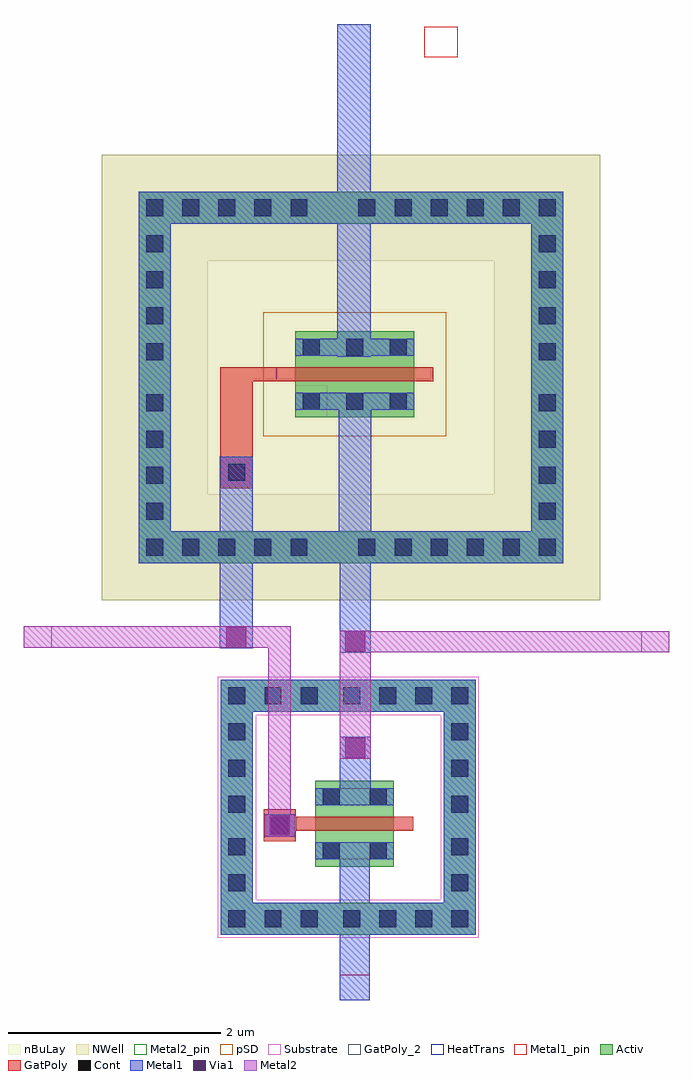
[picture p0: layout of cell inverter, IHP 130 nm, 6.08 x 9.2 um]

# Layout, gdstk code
from math import pi, radians
import gdstk
lib = gdstk.Library(unit=1e-6, precision=5e-09)
def R(c, l, rs):  # rectangles x0, y0, x1, y1
    for r in rs: c.add(gdstk.rectangle(r[:2], r[2:], *l))
def A(c, l, x, y, w, h, nx, ny, dx, dy):  # array of equal rectangles
    R(c, l, [(x+i*dx, y+j*dy, x+i*dx+w, y+j*dy+h) for i in range(nx) for j in range(ny)])
def P(c, l, *ps):  # polygons
    for p in ps: c.add(gdstk.Polygon(p, *l))
Activ = (1, 0)
GatPoly = (5, 0)
GatPoly_2 = (5, 2)
Cont = (6, 0)
Metal1 = (8, 0)
Metal1_pin = (8, 2)
Metal2 = (10, 0)
Metal2_pin = (10, 2)
pSD = (14, 0)
Via1 = (19, 0)
NWell = (31, 0)
nBuLay = (32, 0)
Substrate = (40, 0)
HeatTrans = (51, 0)

nmos_1 = lib.new_cell('nmos$1')
R(nmos_1, Activ, [(0,0,0.3,0.3), (0,0,0.81,0.74), (0.51,0,0.81,0.3)])
R(nmos_1, GatPoly, [(0.34,-0.18,0.47,0.92)])
R(nmos_1, GatPoly_2, [(0.34,-0.18,0.47,0.92)])
R(nmos_1, Cont, [(0.07,0.07,0.23,0.23), (0.58,0.07,0.74,0.23), (0.07,0.51,0.23,0.67), (0.58,0.51,0.74,0.67)])
R(nmos_1, Metal1, [(0.07,0,0.23,0.74), (0.58,0,0.74,0.74)])
R(nmos_1, Metal1_pin, [(0.07,0,0.23,0.74), (0.58,0,0.74,0.74)])
R(nmos_1, HeatTrans, [(0.34,-0.18,0.47,0.92)])
nmos_1.add(gdstk.Label('nmos', (0.405,0.37), layer=63, texttype=0))
nmos_1.add(gdstk.Label('nmos', (0.405,0.37), layer=51, texttype=0))

pmos_1 = lib.new_cell('pmos$1')
R(pmos_1, Activ, [(0,0,0.3,0.3), (0,0,0.81,1.12), (0.51,0,0.81,0.3)])
R(pmos_1, GatPoly, [(0.34,-0.18,0.47,1.3), (0.34,-0.18,0.47,1.3)])
A(pmos_1, Cont, 0.07, 0.07, 0.16, 0.16, 1, 3, 0, 0.41)
A(pmos_1, Cont, 0.58, 0.07, 0.16, 0.16, 1, 3, 0, 0.41)
R(pmos_1, Metal1, [(0.07,0,0.23,1.12), (0.07,0,0.23,1.12), (0.58,0,0.74,1.12), (0.58,0,0.74,1.12)])
R(pmos_1, pSD, [(-0.18,-0.3,0.99,1.42)])
R(pmos_1, NWell, [(-0.31,-0.31,1.12,1.43)])
R(pmos_1, Substrate, [(0.51,0,0.81,0.3)])
R(pmos_1, HeatTrans, [(0.34,-0.18,0.47,1.3)])
pmos_1.add(gdstk.Label('pmos', (0.405,0.56), layer=63, texttype=0))
pmos_1.add(gdstk.Label('pmos', (0.405,0.56), layer=51, texttype=0))

via_stack_1 = lib.new_cell('via_stack$1')
R(via_stack_1, Metal1, [(-0.145,-0.105,0.145,0.105)])
R(via_stack_1, Metal2, [(-0.145,-0.1,0.145,0.1)])
R(via_stack_1, Via1, [(-0.095,-0.095,0.095,0.095)])

guard_ring = lib.new_cell('guard_ring')
R(guard_ring, Activ, [(-2,-1.45,-1.7,1.45), (1.7,-1.45,2,1.45), (-2,1.45,2,1.75)])
P(guard_ring, Activ, [(-2,-1.75),(-2,1.45),(-1.7,1.45),(-1.7,-1.45),(1.7,-1.45),(1.7,1.45),(-2,1.45),(-2,1.75),(2,1.75),(2,-1.75)])
A(guard_ring, Cont, -1.93, -1.68, 0.16, 0.16, 5, 2, 0.34, 3.2)
A(guard_ring, Cont, 0.07, -1.68, 0.16, 0.16, 6, 2, 0.34, 3.2)
A(guard_ring, Cont, -1.93, -1.34, 0.16, 0.16, 1, 4, 0, 0.34)
A(guard_ring, Cont, 1.77, -1.34, 0.16, 0.16, 1, 4, 0, 0.34)
A(guard_ring, Cont, -1.93, 0.16, 0.16, 0.16, 1, 4, 0, 0.34)
A(guard_ring, Cont, 1.77, 0.16, 0.16, 0.16, 1, 4, 0, 0.34)
R(guard_ring, Metal1, [(-2,-1.75,2,-1.45), (-2,-1.45,-1.7,1.45), (1.7,-1.45,2,1.45), (-2,1.45,2,1.75)])
R(guard_ring, NWell, [(-2.35,-2.1,2.35,2.1)])
R(guard_ring, nBuLay, [(-2.35,-1.1,-1.35,1.1), (1.35,-1.1,2.35,1.1), (-2.35,1.1,2.35,2.1)])
P(guard_ring, nBuLay, [(-2.35,-2.1),(-2.35,1.1),(-1.35,1.1),(-1.35,-1.1),(1.35,-1.1),(1.35,1.1),(-2.35,1.1),(-2.35,2.1),(2.35,2.1),(2.35,-2.1)])
guard_ring.add(gdstk.Label('well', (0,-1.6), layer=63, texttype=0))

guard_ring_3 = lib.new_cell('guard_ring$3')
R(guard_ring_3, Activ, [(-1.2,-0.9,-0.9,0.9), (0.9,-0.9,1.2,0.9), (-1.2,0.9,1.2,1.2)])
P(guard_ring_3, Activ, [(-1.2,-1.2),(-1.2,0.9),(-0.9,0.9),(-0.9,-0.9),(0.9,-0.9),(0.9,0.9),(-1.2,0.9),(-1.2,1.2),(1.2,1.2),(1.2,-1.2)])
A(guard_ring_3, Cont, -1.13, -1.13, 0.16, 0.16, 3, 2, 0.34, 2.1)
A(guard_ring_3, Cont, -0.05, -1.13, 0.16, 0.16, 4, 2, 0.34, 2.1)
A(guard_ring_3, Cont, -1.13, -0.05, 0.16, 0.16, 1, 3, 0, 0.34)
A(guard_ring_3, Cont, 0.97, -0.05, 0.16, 0.16, 1, 3, 0, 0.34)
R(guard_ring_3, Cont, [(-1.13,-0.79,-0.97,-0.63), (0.97,-0.79,1.13,-0.63), (-1.13,-0.45,-0.97,-0.29), (0.97,-0.45,1.13,-0.29)])
R(guard_ring_3, Metal1, [(-1.2,-1.2,1.2,-0.9), (-1.2,-0.9,-0.9,0.9), (0.9,-0.9,1.2,0.9), (-1.2,0.9,1.2,1.2)])
R(guard_ring_3, pSD, [(-1.23,-0.87,-0.87,0.87), (0.87,-0.87,1.23,0.87), (-1.23,0.87,1.23,1.23)])
P(guard_ring_3, pSD, [(-1.23,-1.23),(-1.23,0.87),(-0.87,0.87),(-0.87,-0.87),(0.87,-0.87),(0.87,0.87),(-1.23,0.87),(-1.23,1.23),(1.23,1.23),(1.23,-1.23)])
R(guard_ring_3, Substrate, [(-1.23,-0.87,-0.87,0.87), (0.87,-0.87,1.23,0.87), (-1.23,0.87,1.23,1.23)])
P(guard_ring_3, Substrate, [(-1.23,-1.23),(-1.23,0.87),(-0.87,0.87),(-0.87,-0.87),(0.87,-0.87),(0.87,0.87),(-1.23,0.87),(-1.23,1.23),(1.23,1.23),(1.23,-1.23)])
guard_ring_3.add(gdstk.Label('sub!', (0,-1.05), layer=63, texttype=0))

via_stack = lib.new_cell('via_stack')
R(via_stack, GatPoly, [(-0.15,-0.15,0.15,0.15)])
R(via_stack, Cont, [(-0.08,-0.08,0.08,0.08)])
R(via_stack, Metal1, [(-0.145,-0.105,0.145,0.105)])
R(via_stack, Metal2, [(-0.145,-0.1,0.145,0.1)])
R(via_stack, Via1, [(-0.095,-0.095,0.095,0.095)])

via_stack_3 = lib.new_cell('via_stack$3')
R(via_stack_3, GatPoly, [(-0.15,-0.15,0.15,0.15)])
R(via_stack_3, Cont, [(-0.08,-0.08,0.08,0.08)])
R(via_stack_3, Metal1, [(-0.13,-0.08,0.13,0.08)])

inverter = lib.new_cell('inverter')
R(inverter, GatPoly, [(0.22,-0.48,0.53,-0.35), (-0.28,2.745,0.025,3.885), (-0.28,3.755,0.37,3.885)])
R(inverter, Metal1, [(0.845,-2.075,1.125,-1.165), (0.845,-1.465,1.125,-0.59), (0.845,-0.235,1.135,0.405), (0.845,1.195,1.135,2.34), (-0.285,1.24,0.025,3.045), (0.835,2.04,1.14,3.645), (0.82,3.985,1.135,7.12)])
R(inverter, Metal1_pin, [(0.845,-2.075,1.125,-1.835), (1.64,6.805,1.955,7.095)])
R(inverter, Metal2, [(0.17,-0.535,0.38,1.445), (0.845,0.2,1.135,1.405), (0.845,1.2,3.95,1.4), (-2.135,1.245,0.015,1.445), (-0.275,1.245,0.38,1.445)])
R(inverter, Metal2_pin, [(3.685,1.2,3.95,1.4), (-2.135,1.245,-1.87,1.445)])
inverter.add(gdstk.Reference(nmos_1, (0.615,-0.01), rotation=3*pi/2))
inverter.add(gdstk.Reference(pmos_1, (0.425,4.225), rotation=3*pi/2))
inverter.add(gdstk.Reference(via_stack_1, (0.99,0.3)))
inverter.add(gdstk.Reference(guard_ring, (0.95,3.79)))
inverter.add(gdstk.Reference(guard_ring_3, (0.925,-0.26)))
inverter.add(gdstk.Reference(via_stack, (0.28,-0.43)))
inverter.add(gdstk.Reference(via_stack_1, (0.99,1.3)))
inverter.add(gdstk.Reference(via_stack_3, (-0.125,2.895)))
inverter.add(gdstk.Reference(via_stack_1, (-0.13,1.345)))

lib.write_gds('inverter.gds')
